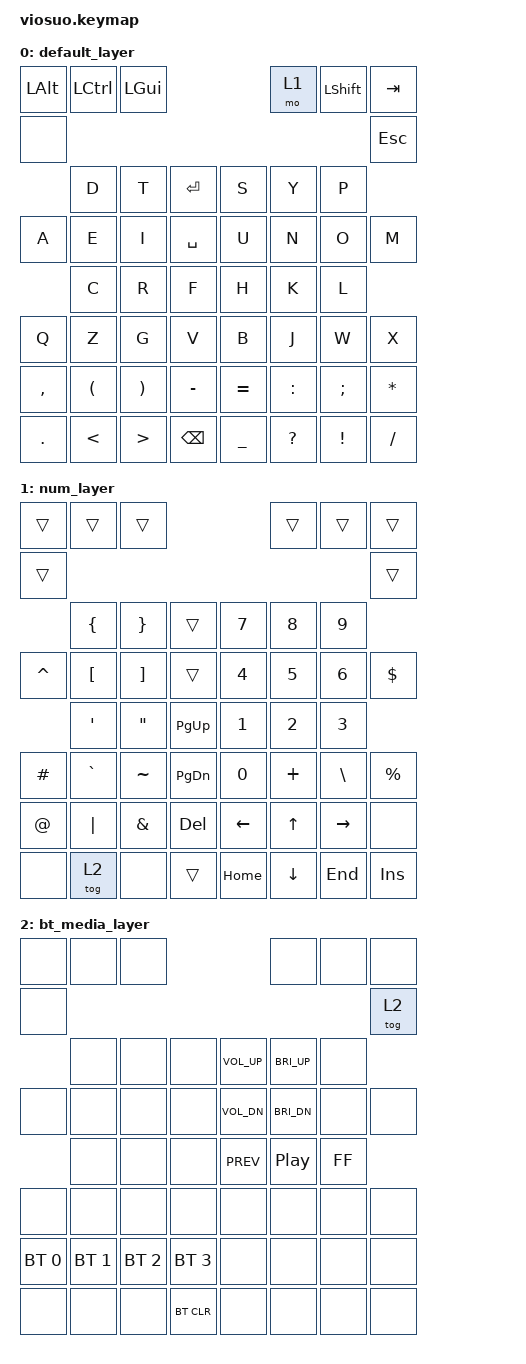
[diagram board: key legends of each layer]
#include <behaviors.dtsi>
#include <dt-bindings/zmk/keys.h>
#include <dt-bindings/zmk/bt.h>
/ {
	keymap {
		compatible = "zmk,keymap";

		default_layer {
			bindings = <
&kp LALT    &kp LCTRL   &kp LGUI                                &mo 1       &kp LSHFT   &kp TAB
&none                                                                                   &kp ESC

            &kp D       &kp T       &kp RET         &kp S       &kp Y       &kp P
&kp A       &kp E       &kp I       &kp SPACE       &kp U       &kp N       &kp O       &kp M
            &kp C       &kp R       &kp F           &kp H       &kp K       &kp L
&kp Q       &kp Z       &kp G       &kp V           &kp B       &kp J       &kp W       &kp X
&kp COMMA   &kp LPAR    &kp RPAR    &kp MINUS       &kp EQUAL   &kp COLON   &kp SEMI    &kp STAR
&kp DOT     &kp LT      &kp GT      &kp BSPC        &kp UNDER   &kp QMARK   &kp EXCL    &kp SLASH
			>;
		};

		num_layer {
			bindings = <
&trans      &trans      &trans                                  &trans      &trans      &trans
&trans                                                                                  &trans

            &kp LBRC    &kp RBRC    &trans          &kp N7      &kp N8      &kp N9
&kp CARET   &kp LBKT    &kp RBKT    &trans          &kp N4      &kp N5      &kp N6      &kp DOLLAR
            &kp SQT     &kp DQT     &kp PG_UP       &kp N1      &kp N2      &kp N3
&kp HASH    &kp GRAVE   &kp TILDE   &kp PG_DN       &kp N0      &kp PLUS    &kp BSLH    &kp PERCENT
&kp AT      &kp PIPE    &kp AMPS    &kp DEL         &kp LEFT    &kp UP      &kp RIGHT   &none
&none       &tog 2      &none       &trans          &kp HOME    &kp DOWN    &kp END     &kp INS
			>;
		};

		bt_media_layer {
			bindings = <
&none       &none       &none                                   &none       &none       &none
&none                                                                                   &tog 2

            &none       &none       &none           &kp C_VOL_UP &kp C_BRI_UP &none
&none       &none       &none       &none           &kp C_VOL_DN &kp C_BRI_DN &none       &none
            &none       &none       &none           &kp C_PREV  &kp C_PP    &kp C_FF
&none       &none       &none       &none           &none       &none       &none       &none      
&bt BT_SEL 0 &bt BT_SEL 1 &bt BT_SEL 2 &bt BT_SEL 3 &none       &none       &none       &none
&none       &none       &none       &bt BT_CLR      &none       &none       &none       &none

			>;
		};

	};

    combos {
        compatible = "zmk,combos";
        combo_mouse_layer {
            timeout-ms = <50>;
            key-positions = <48 49 50>;
            bindings = <&tog 2>;
            layers = <0 1>;
        };
    };

};
